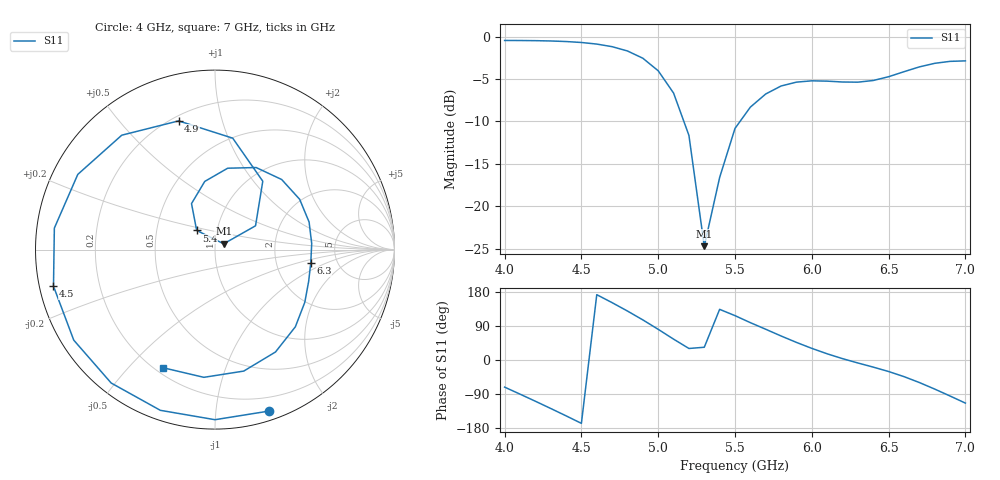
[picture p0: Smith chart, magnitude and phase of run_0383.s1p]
! Touchstone file exported from HFSS 2024.2.0
!  File:  C:/Users/wsak9/Desktop/Sim Fast/Widenad Patch/WP_AI_V1_sweep.aedt
!  Generated:  07:23:08 AM Oct 14, 2026
!  Design:  A1_model
!  Project:  WP_AI_V1_sweep
!  Setup:  Setup1
!  Solution:  Sweep
! Variables:
!  Air_gap = 2.31mm
!  Curve_Amp1 = 1.56
!  Curve_len1 = 1
!  Curve_pos = 10.83mm
!  Extra = 4.49mm
!  H_sub = 0.79mm
!  L_Patch = 17.66mm
!  L_Patch1 = 14.94mm
!  Sx = 4.11mm
!  Sy = 2.13mm
!  WS = 1.49mm
!  W_Patch = 16.23mm
!  W_Patch1 = 10.45mm
!Data is not renormalized
# GHz S MA
! Terminal data exported
! Port[1] = 1
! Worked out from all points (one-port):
!   31 points, 4 GHz to 7 GHz, reference per port
!   lowest |S11| = -24.7 dB at 5.3 GHz (marker M1), VSWR 1.12
!   |S11| at or under -10 dB: 5.167 GHz to 5.533 GHz (365.6 MHz wide, 6.83 % of centre)
!   S11 on the Smith chart (normalised r, x): 4 GHz: 0.08, -1.38; 4.5 GHz: 0.04, -0.11; 4.9 GHz: 0.23, +0.73; 5.4 GHz: 0.80, +0.17; 6.3 GHz: 3.18, -0.66; 7 GHz: 0.23, -0.63
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4  0.9484 -71.6
4.1  0.9477 -90.0
4.2  0.9458 -108.8
4.3  0.9419 -127.9
4.4  0.9348 -147.3
4.5  0.9227 -167.2
4.6  0.903 172.4
4.7  0.8717 151.3
4.8  0.8223 129.2
4.9  0.7452 105.8
5  0.6287 81.0
5.1  0.4648 55.1
5.2  0.2619 30.4
5.3  0.05827 33.6
5.4  0.1479 133.7
5.5  0.2877 117.0
5.6  0.3841 98.6
5.7  0.4589 81.1
5.8  0.5115 63.4
5.9  0.539 46.4
6.1  0.5463 16.4
6.3  0.5387 -7.9
6.5  0.5801 -30.4
6.6  0.6208 -43.8
6.7  0.6626 -59.4
6.8  0.6955 -76.7
6.9  0.7144 -95.0
7  0.7191 -113.8
